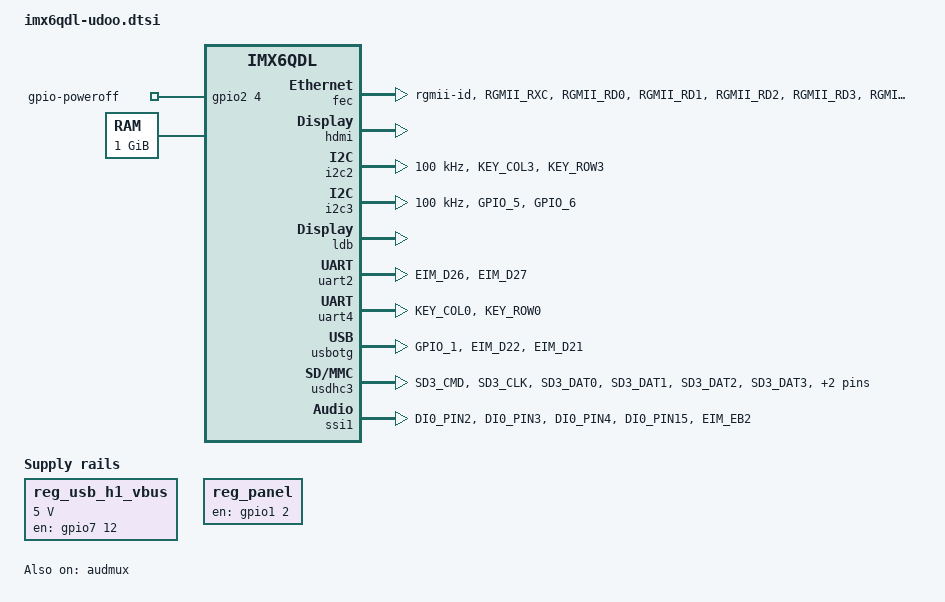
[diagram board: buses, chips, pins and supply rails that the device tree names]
// SPDX-License-Identifier: GPL-2.0
/*
 * Copyright 2013 Freescale Semiconductor, Inc.
 *
 * Author: Fabio Estevam <fabio.estevam@freescale.com>
 */

#include <dt-bindings/gpio/gpio.h>

/ {
	aliases {
		backlight = &backlight;
		panelchan = &panelchan;
		panel7 = &panel7;
		touchscreenp7 = &touchscreenp7;
	};

	chosen {
		stdout-path = &uart2;
	};

	backlight: backlight {
		compatible = "gpio-backlight";
		gpios = <&gpio1 4 0>;
		default-on;
		status = "disabled";
	};

	gpio-poweroff {
		compatible = "gpio-poweroff";
		gpios = <&gpio2 4 0>;
		pinctrl-0 = <&pinctrl_power_off>;
		pinctrl-names = "default";
	};

	memory@10000000 {
		device_type = "memory";
		reg = <0x10000000 0x40000000>;
	};

	panel7: panel7 {
		/*
		 * in reality it is a -20t (parallel) model,
		 * but with LVDS bridge chip attached,
		 * so it is equivalent to -19t model in drive
		 * characteristics
		 */
		compatible = "urt,umsh-8596md-19t";
		pinctrl-names = "default";
		pinctrl-0 = <&pinctrl_panel>;
		power-supply = <&reg_panel>;
		backlight = <&backlight>;
		status = "disabled";

		port {
			panel_in: endpoint {
				remote-endpoint = <&lvds0_out>;
			};
		};
	};

	reg_usb_h1_vbus: regulator-usb-h1-vbus {
		compatible = "regulator-fixed";
		regulator-name = "usb_h1_vbus";
		regulator-min-microvolt = <5000000>;
		regulator-max-microvolt = <5000000>;
		enable-active-high;
		startup-delay-us = <2>; /* USB2415 requires a POR of 1 us minimum */
		gpio = <&gpio7 12 0>;
	};

	reg_panel: regulator-panel {
		compatible = "regulator-fixed";
		regulator-name = "lcd_panel";
		enable-active-high;
		gpio = <&gpio1 2 0>;
	};

	sound {
		compatible = "fsl,imx6q-udoo-ac97",
			     "fsl,imx-audio-ac97";
		model = "fsl,imx6q-udoo-ac97";
		audio-cpu = <&ssi1>;
		audio-routing =
			"RX", "Mic Jack",
			"Headphone Jack", "TX";
		mux-int-port = <1>;
		mux-ext-port = <6>;
	};
};

&fec {
	pinctrl-names = "default";
	pinctrl-0 = <&pinctrl_enet>;
	phy-mode = "rgmii-id";
	status = "okay";
};

&hdmi {
	ddc-i2c-bus = <&i2c2>;
	status = "okay";
};

&i2c2 {
	clock-frequency = <100000>;
	pinctrl-names = "default";
	pinctrl-0 = <&pinctrl_i2c2>;
	status = "okay";
};

&i2c3 {
	clock-frequency = <100000>;
	pinctrl-names = "default";
	pinctrl-0 = <&pinctrl_i2c3>;
	status = "okay";

	touchscreenp7: touchscreenp7@55 {
		compatible = "sitronix,st1232";
		pinctrl-names = "default";
		pinctrl-0 = <&pinctrl_touchscreenp7>;
		reg = <0x55>;
		interrupt-parent = <&gpio1>;
		interrupts = <13 8>;
		gpios = <&gpio1 15 0>;
		status = "disabled";
	};
};

&iomuxc {
	imx6q-udoo {
		pinctrl_enet: enetgrp {
			fsl,pins = <
				MX6QDL_PAD_RGMII_RXC__RGMII_RXC		0x1b030
				MX6QDL_PAD_RGMII_RD0__RGMII_RD0		0x1b030
				MX6QDL_PAD_RGMII_RD1__RGMII_RD1		0x1b030
				MX6QDL_PAD_RGMII_RD2__RGMII_RD2		0x1b030
				MX6QDL_PAD_RGMII_RD3__RGMII_RD3		0x1b030
				MX6QDL_PAD_RGMII_RX_CTL__RGMII_RX_CTL	0x1b030
				MX6QDL_PAD_RGMII_TXC__RGMII_TXC		0x1b030
				MX6QDL_PAD_RGMII_TD0__RGMII_TD0		0x1b030
				MX6QDL_PAD_RGMII_TD1__RGMII_TD1		0x1b030
				MX6QDL_PAD_RGMII_TD2__RGMII_TD2		0x1b030
				MX6QDL_PAD_RGMII_TD3__RGMII_TD3		0x1b030
				MX6QDL_PAD_RGMII_TX_CTL__RGMII_TX_CTL	0x1b030
				MX6QDL_PAD_ENET_REF_CLK__ENET_TX_CLK	0x1b0b0
				MX6QDL_PAD_ENET_MDIO__ENET_MDIO		0x1b0b0
				MX6QDL_PAD_ENET_MDC__ENET_MDC		0x1b0b0
				MX6QDL_PAD_GPIO_16__ENET_REF_CLK	0x4001b0a8
			>;
		};

		pinctrl_i2c2: i2c2grp {
			fsl,pins = <
				MX6QDL_PAD_KEY_COL3__I2C2_SCL		0x4001b8b1
				MX6QDL_PAD_KEY_ROW3__I2C2_SDA		0x4001b8b1
			>;
		};

		pinctrl_i2c3: i2c3grp {
			fsl,pins = <
				MX6QDL_PAD_GPIO_5__I2C3_SCL		0x4001f8b1
				MX6QDL_PAD_GPIO_6__I2C3_SDA		0x4001f8b1
			>;
		};

		pinctrl_panel: panelgrp {
			fsl,pins = <
				MX6QDL_PAD_GPIO_2__GPIO1_IO02		0x70
				MX6QDL_PAD_GPIO_4__GPIO1_IO04		0x70
			>;
		};

		pinctrl_power_off: poweroffgrp {
			fsl,pins = <
				MX6QDL_PAD_NANDF_D4__GPIO2_IO04		0x30
			>;
		};

		pinctrl_touchscreenp7: touchscreenp7grp {
			fsl,pins = <
				MX6QDL_PAD_SD2_DAT0__GPIO1_IO15		0x70
				MX6QDL_PAD_SD2_DAT2__GPIO1_IO13		0x1b0b0
			>;
		};

		pinctrl_uart2: uart2grp {
			fsl,pins = <
				MX6QDL_PAD_EIM_D26__UART2_TX_DATA	0x1b0b1
				MX6QDL_PAD_EIM_D27__UART2_RX_DATA	0x1b0b1
			>;
		};

		pinctrl_uart4: uart4grp {
			fsl,pins = <
				MX6QDL_PAD_KEY_COL0__UART4_TX_DATA	0x1b0b1
				MX6QDL_PAD_KEY_ROW0__UART4_RX_DATA	0x1b0b1
			>;
		};

		pinctrl_usbh: usbhgrp {
			fsl,pins = <
				MX6QDL_PAD_GPIO_17__GPIO7_IO12 0x80000000
				MX6QDL_PAD_NANDF_CS2__CCM_CLKO2 0x130b0
			>;
		};

		pinctrl_usbotg: usbotg {
			fsl,pins = <
				MX6QDL_PAD_GPIO_1__USB_OTG_ID 0x17059
				MX6QDL_PAD_EIM_D22__USB_OTG_PWR 0x17059
				MX6QDL_PAD_EIM_D21__USB_OTG_OC 0x17059
			>;
		};

		pinctrl_usdhc3: usdhc3grp {
			fsl,pins = <
				MX6QDL_PAD_SD3_CMD__SD3_CMD		0x17059
				MX6QDL_PAD_SD3_CLK__SD3_CLK		0x10059
				MX6QDL_PAD_SD3_DAT0__SD3_DATA0		0x17059
				MX6QDL_PAD_SD3_DAT1__SD3_DATA1		0x17059
				MX6QDL_PAD_SD3_DAT2__SD3_DATA2		0x17059
				MX6QDL_PAD_SD3_DAT3__SD3_DATA3		0x17059
				MX6QDL_PAD_SD3_DAT5__GPIO7_IO00		0x1b0b0
			>;
		};

		pinctrl_ac97_running: ac97running {
			fsl,pins = <
				MX6QDL_PAD_DI0_PIN2__AUD6_TXD		0x1b0b0
				MX6QDL_PAD_DI0_PIN3__AUD6_TXFS		0x1b0b0
				MX6QDL_PAD_DI0_PIN4__AUD6_RXD		0x13080
				MX6QDL_PAD_DI0_PIN15__AUD6_TXC		0x13080
				MX6QDL_PAD_EIM_EB2__GPIO2_IO30		0x1b0b0
			>;
		};

		pinctrl_ac97_warm_reset: ac97warmreset {
			fsl,pins = <
				MX6QDL_PAD_DI0_PIN2__AUD6_TXD		0x1b0b0
				MX6QDL_PAD_DI0_PIN3__GPIO4_IO19		0x1b0b0
				MX6QDL_PAD_DI0_PIN4__AUD6_RXD		0x13080
				MX6QDL_PAD_DI0_PIN15__AUD6_TXC		0x13080
				MX6QDL_PAD_EIM_EB2__GPIO2_IO30		0x1b0b0
			>;
		};

		pinctrl_ac97_reset: ac97reset {
			fsl,pins = <
				MX6QDL_PAD_DI0_PIN2__GPIO4_IO18		0x1b0b0
				MX6QDL_PAD_DI0_PIN3__GPIO4_IO19		0x1b0b0
				MX6QDL_PAD_DI0_PIN4__AUD6_RXD		0x13080
				MX6QDL_PAD_DI0_PIN15__AUD6_TXC		0x13080
				MX6QDL_PAD_EIM_EB2__GPIO2_IO30		0x1b0b0
			>;
		};
	};
};

&ldb {
	status = "okay";

	panelchan: lvds-channel@0 {
		port@4 {
			reg = <4>;

			lvds0_out: endpoint {
				remote-endpoint = <&panel_in>;
			};
		};
	};
};

&uart2 {
	pinctrl-names = "default";
	pinctrl-0 = <&pinctrl_uart2>;
	status = "okay";
};

&uart4 {
	pinctrl-names = "default";
	pinctrl-0 = <&pinctrl_uart4>;
	status = "okay";
};

&usbh1 {
	pinctrl-names = "default";
	pinctrl-0 = <&pinctrl_usbh>;
	vbus-supply = <&reg_usb_h1_vbus>;
	clocks = <&clks IMX6QDL_CLK_CKO>;
	status = "disabled";
};

&usbotg {
	pinctrl-names = "default";
	pinctrl-0 = <&pinctrl_usbotg>;
	status = "okay";
};

&usdhc3 {
	pinctrl-names = "default";
	pinctrl-0 = <&pinctrl_usdhc3>;
	cd-gpios = <&gpio7 0 GPIO_ACTIVE_LOW>;
	status = "okay";
};

&audmux {
	status = "okay";
};

&ssi1 {
	cell-index = <0>;
	fsl,mode = "ac97-slave";
	pinctrl-names = "ac97-running", "ac97-reset", "ac97-warm-reset";
	pinctrl-0 = <&pinctrl_ac97_running>;
	pinctrl-1 = <&pinctrl_ac97_reset>;
	pinctrl-2 = <&pinctrl_ac97_warm_reset>;
	ac97-gpios = <&gpio4 19 0 &gpio4 18 0 &gpio2 30 0>;
	status = "okay";
};
